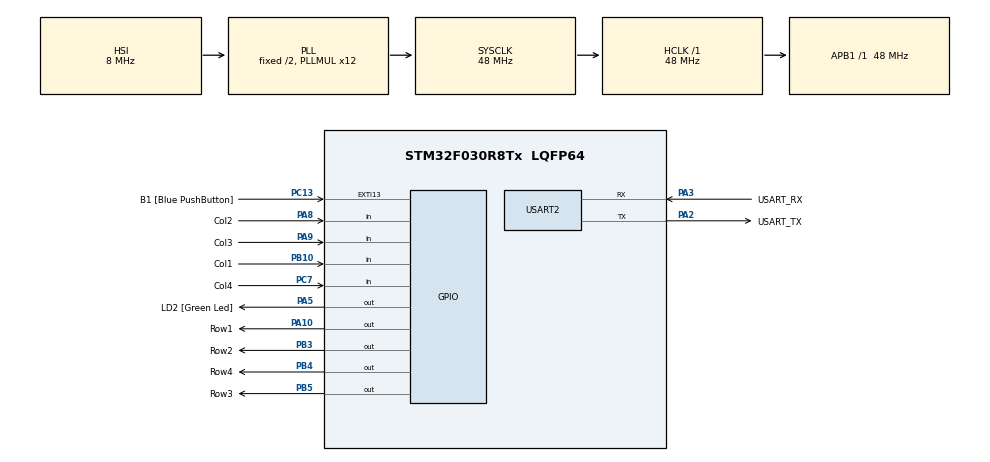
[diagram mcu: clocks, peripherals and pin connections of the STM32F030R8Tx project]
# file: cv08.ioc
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Mcu.Family=STM32F0
Mcu.Name=STM32F030R8Tx
Mcu.Package=LQFP64
NVIC.TIM3_IRQn=true\:0\:0\:false\:false\:true\:true\:true
PA10.GPIO_Label=Row1
PA10.GPIO_ModeDefaultOutputPP=GPIO_MODE_OUTPUT_OD
PA10.Signal=GPIO_Output
PA13.GPIO_Label=TMS
PA13.Mode=Serial_Wire
PA13.Signal=SYS_SWDIO
PA14.GPIO_Label=TCK
PA14.Mode=Serial_Wire
PA14.Signal=SYS_SWCLK
PA2.GPIO_Label=USART_TX
PA2.GPIO_Mode=GPIO_MODE_AF_PP
PA2.GPIO_PuPd=GPIO_NOPULL
PA2.GPIO_Speed=GPIO_SPEED_FREQ_LOW
PA2.Mode=Asynchronous
PA2.Signal=USART2_TX
PA3.GPIO_Label=USART_RX
PA3.GPIO_Mode=GPIO_MODE_AF_PP
PA3.GPIO_PuPd=GPIO_NOPULL
PA3.GPIO_Speed=GPIO_SPEED_FREQ_LOW
PA3.Mode=Asynchronous
PA3.Signal=USART2_RX
PA5.GPIO_Label=LD2 [Green Led]
PA5.GPIO_Mode=GPIO_MODE_OUTPUT_PP
PA5.GPIO_PuPd=GPIO_NOPULL
PA5.GPIO_Speed=GPIO_SPEED_FREQ_LOW
PA5.Signal=GPIO_Output
PA8.GPIO_Label=Col2
PA8.GPIO_PuPd=GPIO_PULLUP
PA8.Signal=GPIO_Input
PA9.GPIO_Label=Col3
PA9.GPIO_PuPd=GPIO_PULLUP
PA9.Signal=GPIO_Input
PB10.GPIO_Label=Col1
PB10.GPIO_PuPd=GPIO_PULLUP
PB10.Signal=GPIO_Input
PB3.GPIO_Label=Row2
PB3.GPIO_ModeDefaultOutputPP=GPIO_MODE_OUTPUT_OD
PB3.Signal=GPIO_Output
PB4.GPIO_Label=Row4
PB4.GPIO_ModeDefaultOutputPP=GPIO_MODE_OUTPUT_OD
PB4.Signal=GPIO_Output
PB5.GPIO_Label=Row3
PB5.GPIO_ModeDefaultOutputPP=GPIO_MODE_OUTPUT_OD
PB5.Signal=GPIO_Output
PC13.GPIO_Label=B1 [Blue PushButton]
PC13.GPIO_ModeDefaultEXTI=GPIO_MODE_IT_FALLING
PC13.Signal=GPXTI13
PC14-OSC32_IN.Mode=LSE-External-Oscillator
PC14-OSC32_IN.Signal=RCC_OSC32_IN
PC15-OSC32_OUT.Mode=LSE-External-Oscillator
PC15-OSC32_OUT.Signal=RCC_OSC32_OUT
PC7.GPIO_Label=Col4
PC7.GPIO_PuPd=GPIO_PULLUP
PC7.Signal=GPIO_Input
PF0-OSC_IN.Mode=HSE-External-Clock-Source
PF0-OSC_IN.Signal=RCC_OSC_IN
PF1-OSC_OUT.Signal=RCC_OSC_OUT
ProjectManager.HeapSize=0x200
ProjectManager.StackSize=0x400
ProjectManager.TargetToolchain=STM32CubeIDE
RCC.AHBFreq_Value=48000000
RCC.APB1Freq_Value=48000000
RCC.APB1TimFreq_Value=48000000
RCC.HCLKFreq_Value=48000000
RCC.PLLMUL=RCC_PLL_MUL12
RCC.SYSCLKFreq_VALUE=48000000
RCC.SYSCLKSource=RCC_SYSCLKSOURCE_PLLCLK
TIM3.AutoReloadPreload=TIM_AUTORELOAD_PRELOAD_ENABLE
TIM3.Period=99
TIM3.Prescaler=4799
USART2.VirtualMode-Asynchronous=VM_ASYNC
VP_TIM3_VS_ClockSourceINT.Mode=Internal
board=NUCLEO-F030R8

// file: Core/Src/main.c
/* USER CODE BEGIN Header */
/**
  ******************************************************************************
  * @file           : main.c
  * @brief          : Main program body
  ******************************************************************************
  * @attention
  *
  * <h2><center>&copy; Copyright (c) 2020 STMicroelectronics.
  * All rights reserved.</center></h2>
  *
  * This software component is licensed by ST under BSD 3-Clause license,
  * the "License"; You may not use this file except in compliance with the
  * License. You may obtain a copy of the License at:
  *                        opensource.org/licenses/BSD-3-Clause
  *
  ******************************************************************************
  */
/* USER CODE END Header */
#include "main.h"
#include <stdio.h>

TIM_HandleTypeDef htim3;

UART_HandleTypeDef huart2;

/* USER CODE BEGIN PV */

static volatile int8_t key = -1;

/* USER CODE END PV */

void SystemClock_Config(void);
static void MX_GPIO_Init(void);
static void MX_USART2_UART_Init(void);
static void MX_TIM3_Init(void);
/* USER CODE BEGIN PFP */

int _write(int file, char const *buf, int n)
{
	/* stdout redirection to UART2 */
	HAL_UART_Transmit(&huart2, (uint8_t*)(buf), n, HAL_MAX_DELAY);
	return n;
}

void HAL_TIM_PeriodElapsedCallback(TIM_HandleTypeDef *htim) {
	static int row = 0;
	static const int keyboard[4][4] = {
			{ 1, 2, 3, 21 },
			{ 4, 5, 6, 22 },
			{ 7, 8, 9, 23 },
			{ 11, 0, 12, 24 },
	};
	if (key == -1)
	{
		if (HAL_GPIO_ReadPin(Col1_GPIO_Port, Col1_Pin) == GPIO_PIN_RESET)
			key = keyboard[row][0];
		if (HAL_GPIO_ReadPin(Col2_GPIO_Port, Col2_Pin) == GPIO_PIN_RESET)
			key = keyboard[row][1];
		if (HAL_GPIO_ReadPin(Col3_GPIO_Port, Col3_Pin) == GPIO_PIN_RESET)
			key = keyboard[row][2];
		if (HAL_GPIO_ReadPin(Col4_GPIO_Port, Col4_Pin) == GPIO_PIN_RESET)
			key = keyboard[row][3];
	}
	HAL_GPIO_WritePin(Row1_GPIO_Port, Row1_Pin, GPIO_PIN_SET);
	HAL_GPIO_WritePin(Row2_GPIO_Port, Row2_Pin, GPIO_PIN_SET);
	HAL_GPIO_WritePin(Row3_GPIO_Port, Row3_Pin, GPIO_PIN_SET);
	HAL_GPIO_WritePin(Row4_GPIO_Port, Row4_Pin, GPIO_PIN_SET);
	switch (row)
	{
		case 0:
			row = 1;
			HAL_GPIO_WritePin(Row2_GPIO_Port, Row2_Pin, GPIO_PIN_RESET);
			break;
		case 1:
			row = 2;
			HAL_GPIO_WritePin(Row3_GPIO_Port, Row3_Pin, GPIO_PIN_RESET);
			break;
		case 2:
			row = 3;
			HAL_GPIO_WritePin(Row4_GPIO_Port, Row4_Pin, GPIO_PIN_RESET);
			break;
		case 3:
			row = 0;
			HAL_GPIO_WritePin(Row1_GPIO_Port, Row1_Pin, GPIO_PIN_RESET);
			break;
	}
}

/* USER CODE END PFP */

int main(void)
{

  /* MCU Configuration--------------------------------------------------------*/

  /* Reset of all peripherals, Initializes the Flash interface and the Systick. */
  HAL_Init();

  /* Configure the system clock */
  SystemClock_Config();

  /* Initialize all configured peripherals */
  MX_GPIO_Init();
  MX_USART2_UART_Init();
  MX_TIM3_Init();
  /* USER CODE BEGIN 2 */

  HAL_TIM_Base_Start(&htim3);

  const uint8_t code[] = {7, 9, 3, 2, 12};
  uint8_t pos = 0;
  uint32_t timeout = HAL_GetTick();

  /* USER CODE END 2 */

  /* Infinite loop */
  /* USER CODE BEGIN WHILE */
  while (1)
  {

	  if (key != -1)
	  {
		  timeout = HAL_GetTick();
		  if (key == code[pos])								//if pressed key is right one, if not print FAIL
		  {
			  pos++;
			  printf("code = %d > pos = %d\n", key, pos);
		  }
		  else
		  {
			  pos = 0;
			  printf("code = %d > pos = %d\nFAIL\n", key, pos);
		  }

		  if (pos == 5)										//all keys was same as code = SUCCESS
		  {
			  pos = 0;
			  printf("SUCCESS\n");
			  HAL_GPIO_TogglePin(LD2_GPIO_Port, LD2_Pin);
		  }
		  key = -1;
	  }

	  if (HAL_GetTick() > timeout + 3000)					//timeout 3s after not pressing any key
	  {
		  if (pos != 0)
			  printf("timeout\n");

		  pos = 0;
	  }

	  /* USER CODE END WHILE */

  }
}

void SystemClock_Config(void)
{
  RCC_OscInitTypeDef RCC_OscInitStruct = {0};
  RCC_ClkInitTypeDef RCC_ClkInitStruct = {0};

  /** Initializes the RCC Oscillators according to the specified parameters
  * in the RCC_OscInitTypeDef structure.
  */
  RCC_OscInitStruct.OscillatorType = RCC_OSCILLATORTYPE_HSI;
  RCC_OscInitStruct.HSIState = RCC_HSI_ON;
  RCC_OscInitStruct.HSICalibrationValue = RCC_HSICALIBRATION_DEFAULT;
  RCC_OscInitStruct.PLL.PLLState = RCC_PLL_ON;
  RCC_OscInitStruct.PLL.PLLSource = RCC_PLLSOURCE_HSI;
  RCC_OscInitStruct.PLL.PLLMUL = RCC_PLL_MUL12;
  RCC_OscInitStruct.PLL.PREDIV = RCC_PREDIV_DIV1;
  if (HAL_RCC_OscConfig(&RCC_OscInitStruct) != HAL_OK)
  {
    Error_Handler();
  }
  /** Initializes the CPU, AHB and APB buses clocks
  */
  RCC_ClkInitStruct.ClockType = RCC_CLOCKTYPE_HCLK|RCC_CLOCKTYPE_SYSCLK
                              |RCC_CLOCKTYPE_PCLK1;
  RCC_ClkInitStruct.SYSCLKSource = RCC_SYSCLKSOURCE_PLLCLK;
  RCC_ClkInitStruct.AHBCLKDivider = RCC_SYSCLK_DIV1;
  RCC_ClkInitStruct.APB1CLKDivider = RCC_HCLK_DIV1;

  if (HAL_RCC_ClockConfig(&RCC_ClkInitStruct, FLASH_LATENCY_1) != HAL_OK)
  {
    Error_Handler();
  }
}

static void MX_TIM3_Init(void)
{

  TIM_ClockConfigTypeDef sClockSourceConfig = {0};
  TIM_MasterConfigTypeDef sMasterConfig = {0};

  htim3.Instance = TIM3;
  htim3.Init.Prescaler = 4799;
  htim3.Init.CounterMode = TIM_COUNTERMODE_UP;
  htim3.Init.Period = 99;
  htim3.Init.ClockDivision = TIM_CLOCKDIVISION_DIV1;
  htim3.Init.AutoReloadPreload = TIM_AUTORELOAD_PRELOAD_ENABLE;
  if (HAL_TIM_Base_Init(&htim3) != HAL_OK)
  {
    Error_Handler();
  }
  sClockSourceConfig.ClockSource = TIM_CLOCKSOURCE_INTERNAL;
  if (HAL_TIM_ConfigClockSource(&htim3, &sClockSourceConfig) != HAL_OK)
  {
    Error_Handler();
  }
  sMasterConfig.MasterOutputTrigger = TIM_TRGO_RESET;
  sMasterConfig.MasterSlaveMode = TIM_MASTERSLAVEMODE_DISABLE;
  if (HAL_TIMEx_MasterConfigSynchronization(&htim3, &sMasterConfig) != HAL_OK)
  {
    Error_Handler();
  }

}

static void MX_USART2_UART_Init(void)
{

  huart2.Instance = USART2;
  huart2.Init.BaudRate = 38400;
  huart2.Init.WordLength = UART_WORDLENGTH_8B;
  huart2.Init.StopBits = UART_STOPBITS_1;
  huart2.Init.Parity = UART_PARITY_NONE;
  huart2.Init.Mode = UART_MODE_TX_RX;
  huart2.Init.HwFlowCtl = UART_HWCONTROL_NONE;
  huart2.Init.OverSampling = UART_OVERSAMPLING_16;
  huart2.Init.OneBitSampling = UART_ONE_BIT_SAMPLE_DISABLE;
  huart2.AdvancedInit.AdvFeatureInit = UART_ADVFEATURE_NO_INIT;
  if (HAL_UART_Init(&huart2) != HAL_OK)
  {
    Error_Handler();
  }

}

static void MX_GPIO_Init(void)
{
  GPIO_InitTypeDef GPIO_InitStruct = {0};

  /* GPIO Ports Clock Enable */
  __HAL_RCC_GPIOC_CLK_ENABLE();
  __HAL_RCC_GPIOF_CLK_ENABLE();
  __HAL_RCC_GPIOA_CLK_ENABLE();
  __HAL_RCC_GPIOB_CLK_ENABLE();

  /*Configure GPIO pin Output Level */
  HAL_GPIO_WritePin(GPIOA, LD2_Pin|Row1_Pin, GPIO_PIN_RESET);

  /*Configure GPIO pin Output Level */
  HAL_GPIO_WritePin(GPIOB, Row2_Pin|Row4_Pin|Row3_Pin, GPIO_PIN_RESET);

  /*Configure GPIO pin : B1_Pin */
  GPIO_InitStruct.Pin = B1_Pin;
  GPIO_InitStruct.Mode = GPIO_MODE_IT_FALLING;
  GPIO_InitStruct.Pull = GPIO_NOPULL;
  HAL_GPIO_Init(B1_GPIO_Port, &GPIO_InitStruct);

  /*Configure GPIO pin : LD2_Pin */
  GPIO_InitStruct.Pin = LD2_Pin;
  GPIO_InitStruct.Mode = GPIO_MODE_OUTPUT_PP;
  GPIO_InitStruct.Pull = GPIO_NOPULL;
  GPIO_InitStruct.Speed = GPIO_SPEED_FREQ_LOW;
  HAL_GPIO_Init(LD2_GPIO_Port, &GPIO_InitStruct);

  /*Configure GPIO pin : Col1_Pin */
  GPIO_InitStruct.Pin = Col1_Pin;
  GPIO_InitStruct.Mode = GPIO_MODE_INPUT;
  GPIO_InitStruct.Pull = GPIO_PULLUP;
  HAL_GPIO_Init(Col1_GPIO_Port, &GPIO_InitStruct);

  /*Configure GPIO pin : Col4_Pin */
  GPIO_InitStruct.Pin = Col4_Pin;
  GPIO_InitStruct.Mode = GPIO_MODE_INPUT;
  GPIO_InitStruct.Pull = GPIO_PULLUP;
  HAL_GPIO_Init(Col4_GPIO_Port, &GPIO_InitStruct);

  /*Configure GPIO pins : Col2_Pin Col3_Pin */
  GPIO_InitStruct.Pin = Col2_Pin|Col3_Pin;
  GPIO_InitStruct.Mode = GPIO_MODE_INPUT;
  GPIO_InitStruct.Pull = GPIO_PULLUP;
  HAL_GPIO_Init(GPIOA, &GPIO_InitStruct);

  /*Configure GPIO pin : Row1_Pin */
  GPIO_InitStruct.Pin = Row1_Pin;
  GPIO_InitStruct.Mode = GPIO_MODE_OUTPUT_OD;
  GPIO_InitStruct.Pull = GPIO_NOPULL;
  GPIO_InitStruct.Speed = GPIO_SPEED_FREQ_LOW;
  HAL_GPIO_Init(Row1_GPIO_Port, &GPIO_InitStruct);

  /*Configure GPIO pins : Row2_Pin Row4_Pin Row3_Pin */
  GPIO_InitStruct.Pin = Row2_Pin|Row4_Pin|Row3_Pin;
  GPIO_InitStruct.Mode = GPIO_MODE_OUTPUT_OD;
  GPIO_InitStruct.Pull = GPIO_NOPULL;
  GPIO_InitStruct.Speed = GPIO_SPEED_FREQ_LOW;
  HAL_GPIO_Init(GPIOB, &GPIO_InitStruct);

}

void Error_Handler(void)
{
}

/************************ (C) COPYRIGHT STMicroelectronics *****END OF FILE****/
